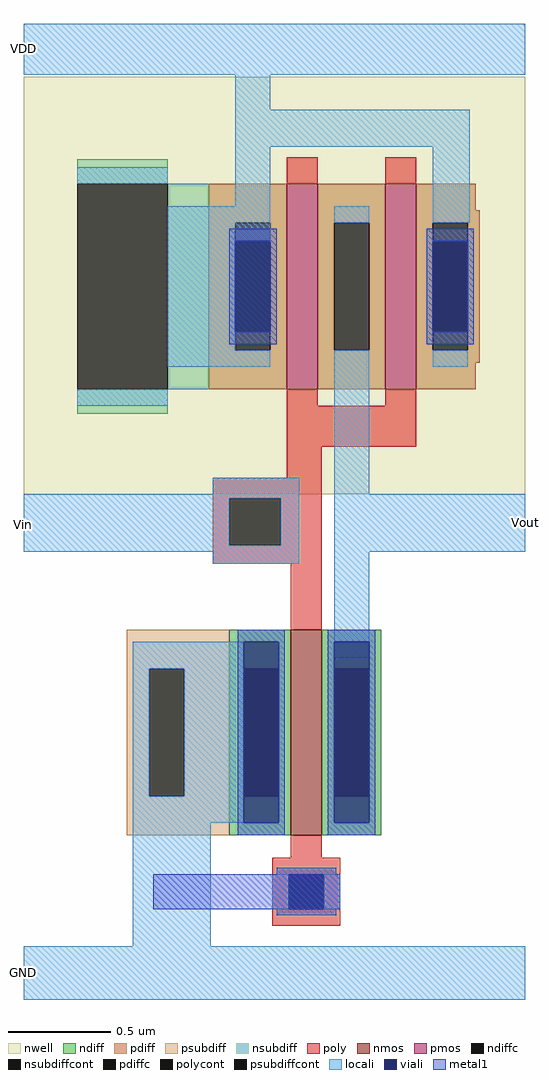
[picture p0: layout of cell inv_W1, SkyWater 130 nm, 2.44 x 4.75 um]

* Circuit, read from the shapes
.subckt inv_W1 GND VDD Vin Vout
XM1 Vout Vin GND GND sky130_fd_pr__nfet_01v8 w=1 l=0.15
XM2 Vout Vin VDD VDD sky130_fd_pr__pfet_01v8 w=1 l=0.15 m=2
.ends

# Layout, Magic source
magic
tech sky130A
magscale 1 2
<< nwell >>
rect -100 420 -98 826
rect 106 758 334 794
rect 156 432 282 494
<< poly >>
rect 156 466 282 506
rect 156 436 190 466
rect 84 416 190 436
rect 84 370 100 416
rect 150 370 190 416
rect 84 352 190 370
rect 160 298 190 352
<< polycont >>
rect 100 370 150 416
<< locali >>
rect -100 828 388 878
rect 106 794 140 828
rect 106 758 334 794
rect 106 578 140 758
rect 298 684 334 758
rect 84 420 168 436
rect -100 416 168 420
rect -100 370 100 416
rect 150 370 168 416
rect -100 364 168 370
rect 84 352 168 364
rect 202 420 236 556
rect 202 364 388 420
rect 202 260 236 364
rect 6 -20 82 114
rect -100 -72 388 -20
use nmos_1u  nmos_1u_0
transform 1 0 112 0 1 14
box -112 -14 136 300
use pmos_2uf2  pmos_2uf2_0
transform 1 0 219 0 1 622
box -317 -202 169 204
<< labels >>
rlabel locali -100 390 -100 390 7 Vin
rlabel locali 388 392 388 392 3 Vout
rlabel locali -100 854 -100 854 7 VDD
rlabel locali -100 -46 -100 -46 7 GND
<< end >>

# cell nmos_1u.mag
magic
tech sky130A
magscale 1 2
<< ndiff >>
rect -12 74 -10 274
<< psubdiff >>
rect -112 236 -12 274
rect -112 112 -90 236
rect -56 112 -12 236
rect -112 74 -12 112
<< psubdiffcont >>
rect -90 112 -56 236
<< locali >>
rect -106 236 2 262
rect -106 112 -90 236
rect -56 112 2 236
rect -106 86 2 112
<< metal1 >>
rect -86 2 96 36
use sky130_fd_pr__nfet_01v8_7RYEVP  sky130_fd_pr__nfet_01v8_7RYEVP_0 ~/my_sky130_project/mag/myinv_layout2
transform 1 0 63 0 1 143
box -73 -157 73 157
<< end >>

# cell pmos_2uf2: kit device sky130_fd_pr__pfet_01v8, w 1 l 0.15 m 1 nf 2 diffcov 70 polycov 70 guard 0 glc 0 grc 0 gtc 0 gbc 0 tbcov 70 rlcov 70 topc 1 botc 1 poverlap 0 doverlap 1 lmin 0.15 wmin 0.42 compatible {sky130_fd_pr__pfet_01v8 sky130_fd_pr__pfet_01v8_lvt sky130_fd_pr__pfet_01v8_hvt sky130_fd_pr__pfet_g5v0d10v5} full_metal 0 viasrc 50 viadrn 50 viagate 50 viagb 0 viagr 0 viagl 0 viagt 0

# cell sky130_fd_pr__nfet_01v8_7RYEVP: kit device sky130_fd_pr__nfet_01v8, w 1 l 0.150 m 1 nf 1 diffcov 70 polycov 70 guard 0 glc 0 grc 0 gtc 0 gbc 0 tbcov 70 rlcov 70 topc 0 botc 1 poverlap 0 doverlap 1 lmin 0.15 wmin 0.42 compatible {sky130_fd_pr__nfet_01v8 sky130_fd_pr__nfet_01v8_lvt sky130_fd_bs_flash__special_sonosfet_star sky130_fd_pr__nfet_g5v0d10v5 sky130_fd_pr__nfet_05v0_nvt sky130_fd_pr__nfet_03v3_nvt} full_metal 0 viasrc 100 viadrn 100 viagate 100 viagb 0 viagr 0 viagl 0 viagt 0
